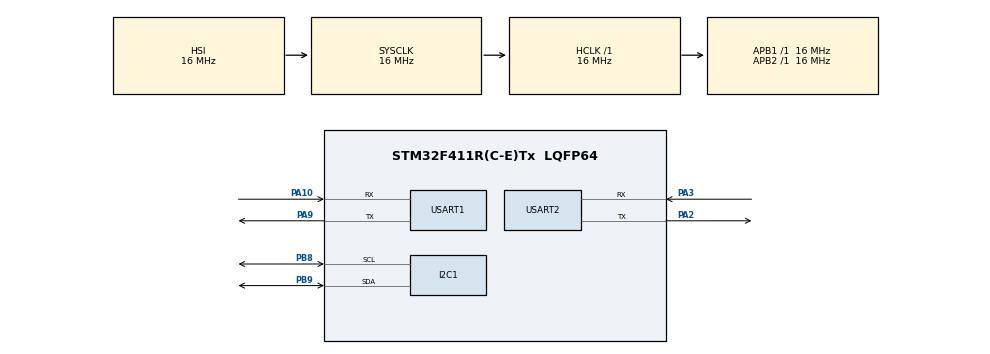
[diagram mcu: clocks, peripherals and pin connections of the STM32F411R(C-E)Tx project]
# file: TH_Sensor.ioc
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Mcu.Family=STM32F4
Mcu.Name=STM32F411R(C-E)Tx
Mcu.Package=LQFP64
NVIC.PriorityGroup=NVIC_PRIORITYGROUP_4
NVIC.USART1_IRQn=true\:0\:0\:false\:false\:true\:true\:true\:true
NVIC.USART2_IRQn=true\:0\:0\:false\:false\:true\:true\:true\:true
PA10.Mode=Asynchronous
PA10.Signal=USART1_RX
PA2.Mode=Asynchronous
PA2.Signal=USART2_TX
PA3.Mode=Asynchronous
PA3.Signal=USART2_RX
PA9.Mode=Asynchronous
PA9.Signal=USART1_TX
PB8.Mode=I2C
PB8.Signal=I2C1_SCL
PB9.Mode=I2C
PB9.Signal=I2C1_SDA
ProjectManager.HeapSize=0x200
ProjectManager.StackSize=0x400
ProjectManager.TargetToolchain=STM32CubeIDE
RCC.AHBFreq_Value=16000000
RCC.APB1Freq_Value=16000000
RCC.APB2Freq_Value=16000000
RCC.CortexFreq_Value=16000000
RCC.HSE_VALUE=25000000
RCC.HSI_VALUE=16000000
RCC.LSE_VALUE=32768
RCC.SYSCLKFreq_VALUE=16000000
RCC.VCOOutputFreq_Value=192000000
USART1.VirtualMode=VM_ASYNC
USART2.VirtualMode=VM_ASYNC
board=custom

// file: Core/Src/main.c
/* USER CODE BEGIN Header */
/**
  ******************************************************************************
  * @file           : main.c
  * @brief          : Main program body
  ******************************************************************************
  * @attention
  *
  * Copyright (c) 2023 STMicroelectronics.
  * All rights reserved.
  *
  * This software is licensed under terms that can be found in the LICENSE file
  * in the root directory of this software component.
  * If no LICENSE file comes with this software, it is provided AS-IS.
  *
  ******************************************************************************
  */
/* USER CODE END Header */
#include "main.h"

/* USER CODE BEGIN Includes */
#include <stdio.h>
#include "ESPDataLogger.h"
#include "math.h"
/* USER CODE END Includes */

I2C_HandleTypeDef hi2c1;

UART_HandleTypeDef huart1;
UART_HandleTypeDef huart2;

/* USER CODE BEGIN PV */
float t,h;
uint8_t restart_stm;
/* USER CODE END PV */

void SystemClock_Config(void);
static void MX_GPIO_Init(void);
static void MX_I2C1_Init(void);
static void MX_USART1_UART_Init(void);
static void MX_USART2_UART_Init(void);
/* USER CODE BEGIN PFP */

#ifdef __GNUC__
#define PUTCHAR_PROTOTYPE int __io_putchar(int ch)
#else
#define PUTCHAR_PROTOTYPE int fputc(int ch, FILE *f)
#endif

PUTCHAR_PROTOTYPE
{
  HAL_UART_Transmit(&huart2, (uint8_t *)&ch, 1, HAL_MAX_DELAY);
  return ch;
}
/* USER CODE END PFP */

/* USER CODE BEGIN 0 */
float Value_Buffer[2];

void say(char arr[]){//for debugging; can remove this useless code
	printf("Kenneth the Debugger: %s\r\n",arr);
}

//temp and humid here (from datasheet)
unsigned int CRC16(uint8_t *ptr, uint8_t length){
	unsigned int crc = 0xFFFF;
	uint8_t s = 0x00;

	while(length--){
		crc ^= *ptr++;
		for(s = 0; s < 8; s++){
			if((crc & 0x01) != 0){
				crc >>= 1;
				crc ^= 0xA001;
			}else{
				crc >>= 1;
			}
		}
	}
	return crc;
}

 void AM2320_ReadData_HAL(void){//getting data from sensor, but HAL
 	uint8_t data_t[3];
 	uint8_t buf[8];

 	data_t[0]=0x03;
 	data_t[1]=0x00;
 	data_t[2]=0x04;

 	HAL_I2C_IsDeviceReady(&hi2c1,0xb8,2,1);
 	HAL_I2C_Master_Transmit(&hi2c1,0xb8,data_t,3,1);
 	HAL_I2C_Master_Receive(&hi2c1,0xb9,buf,8,2);

 	unsigned int Rcrc = buf[7] << 8;
 	Rcrc += buf[6];
 	if(Rcrc == CRC16(buf,6)){
 		unsigned int temperature = ((buf[4] & 0x7F) << 8) + buf[5];
 		t = temperature / 10.0;
 		t = (((buf[4] & 0x80) >> 7) == 1) ? ((t) * (-1)) : t;
 		unsigned int humidity = (buf[2] << 8) + buf[3];
 		h = humidity / 10.0;
 	}
 }

//void start_sequence(uint8_t dir){
//	I2C1->CR1 |= (1<<8); //Repeated start bit generation
//	while (!(I2C1->SR1 & (1<<0))){}//wait for start bit generation
//	(void) I2C1->SR1;//read Status Register 1 to reset SB (start bit)
//	I2C1->DR = dir ==0? 0xb8 : 0xb9;//send slave address and indicate whether tx or rx functionality
//	while(!(I2C1->SR1 & (1<<1)));//wait till address sent
//	(void) I2C1->SR1;//read Status Register 1 to reset ADDR (address sent)
//	(void) I2C1->SR2;//read and clear the SR2 register (to go back to initial/fresh state for the next transmission)
//}
//void AM2320_ReadCommand(void){//getting data from sensor, but Register level
//	I2C1->DR = 0x03;//function code
//	while(!(I2C1->SR1 & (1<<7))){};//wait till transmit mode DR empty
//	I2C1->DR = 0x00; //internal register address to read from
//	while(!(I2C1->SR1 & (1<<7))){};//wait
//	I2C1->DR = 0x04; //register length
//	while(!(I2C1->SR1 & (1<<7))){};//wait
//	I2C1->CR1 |= (1<<9); //stop bit generation
//
//}

void AM2320_ReadData_Register(){
	uint8_t i;
	uint8_t buf[8];

	/// Wake sensor ///
	I2C1->CR1 |= (1<<8); //Repeated Start Generation
	while (!(I2C1->SR1 & (1<<0))){}//wait for start bit generation
	(void) I2C1->SR1;//read Status Register 1 to reset SB (actually it resets whole SR1 but ehhh)
	I2C1->DR = 0xB8;//send sensor address to SDA (0x5C shifted left by one)
	delay_ms(1);
	I2C1->CR1 |= (1<<9);// stop bit generation
	say("sensor awake");
	// send read command //
	I2C1->CR1 |= (1<<8); //Repeated start bit generation
	while (!(I2C1->SR1 & (1<<0))){}//wait for start bit generation
	(void) I2C1->SR1;//read Status Register 1 to reset SB (start bit)
	I2C1->DR = 0xb8;//send slave address and indicate whether tx or rx functionality
	while(!(I2C1->SR1 & (1<<1))){};//wait till address sent
	(void) I2C1->SR1;//read Status Register 1 to reset ADDR (address sent)
	(void) I2C1->SR2;//read and clear the SR2 register (to go back to initial/fresh state for the next transmission)

	I2C1->DR = 0x03;//function code
	while(!(I2C1->SR1 & (1<<7))){};//wait till transmit mode DR empty
	I2C1->DR = 0x00; //internal register address to read from
	while(!(I2C1->SR1 & (1<<7))){};//wait
	I2C1->DR = 0x04; //register length
	while(!(I2C1->SR1 & (1<<7))){};//wait
	I2C1->CR1 |= (1<<9); //stop bit generation
	delay_ms(1);
	say("sensor ready to send");
	// read data from sensor //
	I2C1->CR1 |= (1<<8); //Repeated start bit generation
	while (!(I2C1->SR1 & (1<<0))){}//wait for start bit generation
	(void) I2C1->SR1;//read Status Register 1 to reset SB (start bit)
	I2C1->DR = 0xb9;//send slave address and indicate whether tx or rx functionality
	while(!(I2C1->SR1 & (1<<1))){};//wait till address sent
	(void) I2C1->SR1;//read Status Register 1 to reset ADDR (address sent)
	(void) I2C1->SR2;//read and clear the SR2 register (to go back to initial/fresh state for the next transmission)

	for(i=0; i<8; i++){
		while(!(I2C1->SR1 & (1<<6))){}//wait till receiver mode DR contains something
		buf[i]=I2C1->DR;//store data from sensor to buf array
	}
	I2C1->CR1 |= (1<<9);//stop bit generation
	say("sensor data read");
	// crc check //
	unsigned int Rcrc = buf[7] << 8;
	Rcrc += buf[6];
	if(Rcrc == CRC16(buf, 6)){
		unsigned int temperature = ((buf[4] & 0x7F) << 8) + buf[5];
		t = temperature /10.0;
		t = (((buf[4] & 0x80) >> 7)== 1) ? ((t) * (-1)) : t;
	unsigned int humidity = (buf[2] << 8) + buf[3];
	h = humidity / 10.0;
	}
}
void TIM2_Init(void){
	say("Timer initialized");
	RCC->APB1ENR |= (1<<0); // Enable clock for TIM2
	TIM2->PSC = 42000-1;    // Set PSC+1 = 16000 such that Feff = 1/0.001 Hz

	TIM2->ARR = 30000;        // Set timer to reset

	TIM2->DIER |= (1<<0);   // Enable timer interrupt generation

	NVIC->IP[TIM2_IRQn] =  (2 << 4); // Set priority to 2
	NVIC->ISER[TIM2_IRQn >> 5] |= (1 << (TIM2_IRQn % 32)); // Enable interrupt
	TIM2->SR &= ~(1<<0);

	TIM2->EGR |= (1<<0);
	TIM2->CR1 &= ~(1<<0);    // Disable timer, for now
}

void TIM2_IRQHandler(void){
	say("Interrupt handler activated");
	if(restart_stm){
		NVIC_SystemReset();
	}
	TIM2->SR &= ~(1<<0); // Clear UIF update interrupt flag
}

void delay_ms(int d){
	int i;
	for(; d>0 ;d--){
		for(i =0; i<2657;i++);
	}
}
/* USER CODE END 0 */

int main(void)
{

  /* MCU Configuration--------------------------------------------------------*/

  /* Reset of all peripherals, Initializes the Flash interface and the Systick. */
  HAL_Init();

  /* Configure the system clock */
  SystemClock_Config();

  /* Initialize all configured peripherals */
  MX_GPIO_Init();
  MX_I2C1_Init();
  MX_USART1_UART_Init();
  MX_USART2_UART_Init();
  /* USER CODE BEGIN 2 */
  restart_stm = 0;

  printf("\n\n\n\n\n\n\n");
  TIM2_Init();
  say("ESP is initializing...");
  restart_stm = 1;
  TIM2->CR1 |= (1<<0);
//  ESP_Init("EEE192-308","EEE192_Room308");
  ESP_Init("sss","12345678");
  restart_stm = 0;
  TIM2->CNT = 0;
  TIM2->CR1 &= ~(1<<0);    // Disable timer, for now
  say("ESP is ready!");
  int minutes = 1;//number of minutes between each transmission
  I2C1->CR1 |= (1<<10);//enable ack
  /* USER CODE END 2 */

  /* Infinite loop */
  while (1)
  {

    /* USER CODE BEGIN 3 */
	  restart_stm = 1;
	  TIM2->CR1 |= (1<<0);
	  say("Retrieving sensor data...");
	  AM2320_ReadData_Register();
//	  AM2320_ReadData_HAL();
	  say("Sensor data received!");
//	  if(t<1){
//	  		  t=25.0;
//	  }
//	  if(h<1){
//		  h=60.0;
//	  }
	  Value_Buffer[0] = t;
	  Value_Buffer[1] = h;
	  say("Preparing to send data...");
	  delay_ms(2000*minutes);
	  ESP_Send_Multi("CI4OHK76MHG5N7JL",2,Value_Buffer);
	  restart_stm = 0;
	  TIM2->CNT = 0;
	  TIM2->CR1 &= ~(1<<0);    // Disable timer, for now
	  printf("Temperature: %f ; Humidity: %f\r\n",Value_Buffer[0],Value_Buffer[1]);
	  say("Data sent!");

	  delay_ms(57000*minutes);
  }
  /* USER CODE END 3 */
}

void SystemClock_Config(void)
{
  RCC_OscInitTypeDef RCC_OscInitStruct = {0};
  RCC_ClkInitTypeDef RCC_ClkInitStruct = {0};

  /** Configure the main internal regulator output voltage
  */
  __HAL_RCC_PWR_CLK_ENABLE();
  __HAL_PWR_VOLTAGESCALING_CONFIG(PWR_REGULATOR_VOLTAGE_SCALE1);

  /** Initializes the RCC Oscillators according to the specified parameters
  * in the RCC_OscInitTypeDef structure.
  */
  RCC_OscInitStruct.OscillatorType = RCC_OSCILLATORTYPE_HSI;
  RCC_OscInitStruct.HSIState = RCC_HSI_ON;
  RCC_OscInitStruct.HSICalibrationValue = RCC_HSICALIBRATION_DEFAULT;
  RCC_OscInitStruct.PLL.PLLState = RCC_PLL_NONE;
  if (HAL_RCC_OscConfig(&RCC_OscInitStruct) != HAL_OK)
  {
    Error_Handler();
  }

  /** Initializes the CPU, AHB and APB buses clocks
  */
  RCC_ClkInitStruct.ClockType = RCC_CLOCKTYPE_HCLK|RCC_CLOCKTYPE_SYSCLK
                              |RCC_CLOCKTYPE_PCLK1|RCC_CLOCKTYPE_PCLK2;
  RCC_ClkInitStruct.SYSCLKSource = RCC_SYSCLKSOURCE_HSI;
  RCC_ClkInitStruct.AHBCLKDivider = RCC_SYSCLK_DIV1;
  RCC_ClkInitStruct.APB1CLKDivider = RCC_HCLK_DIV1;
  RCC_ClkInitStruct.APB2CLKDivider = RCC_HCLK_DIV1;

  if (HAL_RCC_ClockConfig(&RCC_ClkInitStruct, FLASH_LATENCY_0) != HAL_OK)
  {
    Error_Handler();
  }
}

static void MX_I2C1_Init(void)
{

  /* USER CODE BEGIN I2C1_Init 1 */
	RCC->AHB1ENR |= (1<<1);//GPIOB clock enable

	GPIOB->MODER |= (2<<16) | (2<<18);// PB8 and PB9 as alternate funct
	GPIOB->OTYPER |= (1<<8) | (1<<9); // PB8 PB9 as output open drain

	GPIOB->OSPEEDR |= (3<<16) | (3<<18);// PB8 PB9 as high speed

	GPIOB->AFR[1] |= (4<<0) | (4<<4); // PB8 PB9 as alt func 4 (I2C1)

	RCC->APB1ENR |= (1<<21); // i2c clock enable

	I2C1->CR1 |= (1<<15);//reset the I2C
	I2C1->CR1 &= ~(1<<15);

	I2C1->CR2 |= (16<<0); // input peripheral freq in MHz (16 MHz)

	I2C1->CCR |= (80<<0);// (1000ns + 4000ns)/(1/16MHz)

	I2C1->TRISE |= (17<<0); // configure rise time register

	I2C1->CR1 |= (1<<0);// enable I2C

  /* USER CODE END I2C1_Init 1 */
//  hi2c1.Instance = I2C1;
//  hi2c1.Init.ClockSpeed = 100000;
//  hi2c1.Init.DutyCycle = I2C_DUTYCYCLE_2;
//  hi2c1.Init.OwnAddress1 = 0;
//  hi2c1.Init.AddressingMode = I2C_ADDRESSINGMODE_7BIT;
//  hi2c1.Init.DualAddressMode = I2C_DUALADDRESS_DISABLE;
//  hi2c1.Init.OwnAddress2 = 0;
//  hi2c1.Init.GeneralCallMode = I2C_GENERALCALL_DISABLE;
//  hi2c1.Init.NoStretchMode = I2C_NOSTRETCH_DISABLE;
//  if (HAL_I2C_Init(&hi2c1) != HAL_OK)
//  {
//    Error_Handler();
//  }

}

static void MX_USART1_UART_Init(void)
{

  huart1.Instance = USART1;
  huart1.Init.BaudRate = 115200;
  huart1.Init.WordLength = UART_WORDLENGTH_8B;
  huart1.Init.StopBits = UART_STOPBITS_1;
  huart1.Init.Parity = UART_PARITY_NONE;
  huart1.Init.Mode = UART_MODE_TX_RX;
  huart1.Init.HwFlowCtl = UART_HWCONTROL_NONE;
  huart1.Init.OverSampling = UART_OVERSAMPLING_16;
  if (HAL_UART_Init(&huart1) != HAL_OK)
  {
    Error_Handler();
  }

}

static void MX_USART2_UART_Init(void)
{

  huart2.Instance = USART2;
  huart2.Init.BaudRate = 115200;
  huart2.Init.WordLength = UART_WORDLENGTH_8B;
  huart2.Init.StopBits = UART_STOPBITS_1;
  huart2.Init.Parity = UART_PARITY_NONE;
  huart2.Init.Mode = UART_MODE_TX_RX;
  huart2.Init.HwFlowCtl = UART_HWCONTROL_NONE;
  huart2.Init.OverSampling = UART_OVERSAMPLING_16;
  if (HAL_UART_Init(&huart2) != HAL_OK)
  {
    Error_Handler();
  }

}

static void MX_GPIO_Init(void)
{

  /* GPIO Ports Clock Enable */
  __HAL_RCC_GPIOA_CLK_ENABLE();
  __HAL_RCC_GPIOB_CLK_ENABLE();

}

void Error_Handler(void)
{
  __disable_irq();
  while (1)
  {
  }
}
